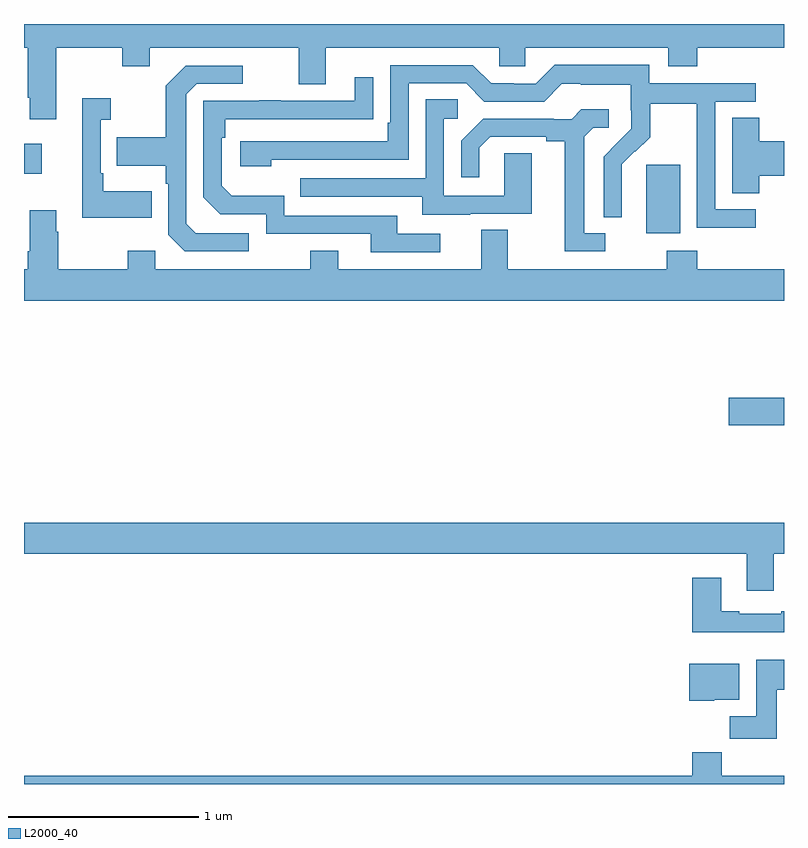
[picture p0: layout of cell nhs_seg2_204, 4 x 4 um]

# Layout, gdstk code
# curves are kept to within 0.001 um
import gdstk
lib = gdstk.Library(unit=1e-6, precision=1e-09)
def R(c, l, rs):  # rectangles x0, y0, x1, y1
    for r in rs: c.add(gdstk.rectangle(r[:2], r[2:], *l))
def P(c, l, *ps):  # polygons
    for p in ps: c.add(gdstk.Polygon(p, *l))
L2000_40 = (2000, 40)

nhs_seg2_204 = lib.new_cell('nhs_seg2_204')
R(nhs_seg2_204, L2000_40, [(124.71,605.687,125,605.834), (124.274,606.698,124.453,607.059), (121,607.013,121.093,607.171)])
P(nhs_seg2_204, L2000_40, [(121.171,607.676),(121.516,607.676),(121.516,607.577),(121.663,607.577),(121.663,607.676),(122.447,607.676),(122.447,607.482),(122.587,607.482),(122.587,607.676),(123.501,607.676),(123.501,607.578),(123.639,607.578),(123.639,607.676),(124.391,607.676),(124.391,607.577),(124.544,607.577),(124.544,607.676),(125,607.676),(125,607.8),(121,607.8),(121,607.676),(121.019,607.676),(121.019,607.411),(121.031,607.411),(121.031,607.299),(121.171,607.299)],
  [(124.852,606.825),(124.638,606.825),(124.638,607.392),(124.852,607.392),(124.852,607.488),(124.29,607.488),(124.29,607.585),(123.793,607.585),(123.693,607.485),(123.578,607.485),(123.578,607.488),(123.459,607.488),(123.363,607.584),(122.928,607.584),(122.928,607.279),(122.915,607.279),(122.915,607.182),(122.139,607.182),(122.139,607.052),(122.3,607.052),(122.3,607.086),(123.024,607.086),(123.024,607.488),(123.327,607.488),(123.423,607.392),(123.738,607.392),(123.831,607.485),(123.931,607.485),(123.931,607.481),(124.194,607.481),(124.194,607.347),(124.196,607.347),(124.196,607.25),(124.05,607.102),(124.05,606.784),(124.146,606.784),(124.145,607.061),(124.215,607.131),(124.218,607.128),(124.295,607.205),(124.295,607.38),(124.54,607.38),(124.54,607.156),(124.542,607.156),(124.542,606.727),(124.852,606.727)],
  [(122.182,606.699),(121.905,606.699),(121.854,606.75),(121.854,607.431),(121.908,607.485),(122.152,607.485),(122.152,607.581),(121.851,607.581),(121.746,607.475),(121.746,607.203),(121.489,607.203),(121.489,607.055),(121.746,607.055),(121.746,606.959),(121.758,606.959),(121.758,606.69),(121.845,606.603),(122.182,606.603)],
  [(123.19,606.696),(122.965,606.696),(122.965,606.792),(122.37,606.792),(122.37,606.895),(122.093,606.895),(122.04,606.948),(122.04,607.202),(122.06,607.202),(122.06,607.299),(122.837,607.3),(122.837,607.519),(122.741,607.519),(122.741,607.395),(122.351,607.395),(122.351,607.4),(122.239,607.4),(122.239,607.395),(121.944,607.395),(121.944,606.888),(122.034,606.798),(122.274,606.798),(122.274,606.696),(122.825,606.696),(122.825,606.6),(123.19,606.6)],
  [(121.673,606.919),(121.417,606.919),(121.417,607.015),(121.404,607.015),(121.404,607.295),(121.456,607.295),(121.456,607.408),(121.307,607.408),(121.307,606.779),(121.673,606.779)],
  [(123.349,606.801),(123.673,606.801),(123.673,607.121),(123.528,607.121),(123.528,606.897),(123.21,606.897),(123.21,607.302),(123.283,607.302),(123.283,607.403),(123.114,607.403),(123.114,606.987),(122.455,606.987),(122.455,606.891),(123.095,606.891),(123.095,606.797),(123.349,606.797)],
  [(124.06,606.699),(123.949,606.699),(123.949,607.207),(123.996,607.254),(124.078,607.254),(124.078,607.351),(123.934,607.351),(123.882,607.299),(123.788,607.299),(123.788,607.302),(123.416,607.302),(123.3,607.186),(123.3,606.993),(123.397,606.993),(123.397,607.149),(123.454,607.206),(123.749,607.206),(123.749,607.184),(123.845,607.184),(123.845,606.603),(124.06,606.603)],
  [(124.871,607.001),(125,607.001),(125,607.184),(124.871,607.184),(124.871,607.307),(124.727,607.307),(124.727,606.91),(124.871,606.91)],
  [(125,606.508),(124.544,606.508),(124.544,606.607),(124.384,606.607),(124.384,606.508),(123.547,606.508),(123.547,606.716),(123.407,606.716),(123.407,606.508),(122.653,606.508),(122.653,606.607),(122.506,606.607),(122.506,606.508),(121.692,606.508),(121.692,606.607),(121.546,606.607),(121.546,606.508),(121.179,606.508),(121.179,606.707),(121.171,606.707),(121.171,606.82),(121.031,606.82),(121.031,606.604),(121.019,606.604),(121.019,606.508),(121,606.508),(121,606.344),(125,606.344)],
  [(124.945,605.012),(125,605.012),(125,605.176),(121,605.176),(121,605.012),(124.805,605.012),(124.805,604.818),(124.945,604.818)],
  [(125,604.708),(124.985,604.708),(124.985,604.695),(124.765,604.695),(124.765,604.708),(124.669,604.708),(124.669,604.885),(124.517,604.885),(124.517,604.598),(125,604.598)],
  [(124.963,604.297),(125,604.297),(125,604.453),(124.853,604.453),(124.853,604.156),(124.714,604.156),(124.714,604.038),(124.963,604.038)],
  [(124.632,604.244),(124.765,604.244),(124.765,604.432),(124.502,604.432),(124.502,604.238),(124.632,604.238)],
  [(125,603.844),(124.673,603.844),(124.673,603.968),(124.517,603.968),(124.517,603.844),(121,603.844),(121,603.8),(125,603.8)])

lib.write_gds('nhs_seg2_204.gds')
